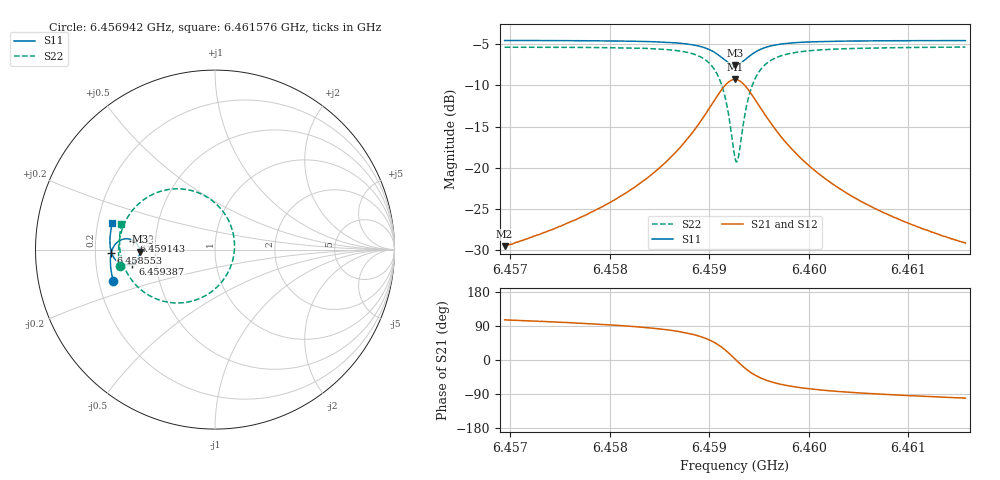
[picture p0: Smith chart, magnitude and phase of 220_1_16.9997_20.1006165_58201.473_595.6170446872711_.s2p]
#  HZ  S  RI  R  50.00
! Rohde & Schwarz Vector Network Analyzer
! Rohde-Schwarz,ZNB20-2Port,1311601062101988,3.16
! Created: UTC 3/20/2024, 11:01:55 PM
! freq[Hz]  re:S11  im:S11  re:S21  im:S21  re:S12  im:S12  re:S22  im:S22
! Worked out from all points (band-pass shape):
!   401 points, 6.456942 GHz to 6.461576 GHz, reference 50 ohm
!   highest |S21| = -9.28 dB at 6.459259 GHz (marker M1); lowest = -29.5 dB at 6.456942 GHz (marker M2)
!   |S21| within 3 dB of the highest: 6.459028 GHz to 6.459491 GHz (463.1 kHz wide, 0.00717 % of centre)
!   lowest |S11| = -7.6 dB at 6.459259 GHz (marker M3), VSWR 2.44, Z = 20.5 - j0.611 ohm
!   |S11| at or under -10 dB: nowhere
!   |S22| runs from -19.3 to -5.4 dB; largest |S21 - S12| = 0.013
!   S11 on the Smith chart (normalised r, x): 6.456942 GHz: 0.26, -0.14; 6.458553 GHz: 0.27, -0.01; 6.459143 GHz: 0.37, +0.05; 6.459387 GHz: 0.37, -0.07; 6.461576 GHz: 0.26, +0.12
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6.4569423e9  -0.5655 -0.176  -0.00913 0.0322  -0.00737 0.0321  -0.5308 -0.0914
6.4577185e9  -0.58 -0.1083  -0.00593 0.0502  -0.00347 0.0494  -0.5373 -0.000944
6.4581587e9  -0.5831 -0.0642  7.74e-05 0.0701  0.00332 0.0689  -0.5295 0.0688
6.4584947e9  -0.5797 -0.024  0.0134 0.0984  0.0174 0.0956  -0.5052 0.1445
6.4585526e9  -0.578 -0.0162  0.0177 0.1052  0.0217 0.1021  -0.4972 0.1611
6.4587611e9  -0.5652 0.016  0.0449 0.1376  0.049 0.1328  -0.4466 0.2341
6.4589117e9  -0.5427 0.0425  0.0898 0.1682  0.093 0.1616  -0.3639 0.2991
6.4590508e9  -0.499 0.0602  0.1764 0.1853  0.1775 0.1779  -0.2057 0.3387
6.4591434e9  -0.4548 0.0503  0.2662 0.1545  0.2665 0.1487  -0.0395 0.2897
6.4591898e9  -0.4335 0.0316  0.3099 0.1122  0.3112 0.1068  0.0433 0.2141
6.4592593e9  -0.4186 -0.0123  0.3433 0.0157  0.347 0.00886  0.1087 0.0355
6.4592709e9  -0.4191 -0.0203  0.3433 -0.00197  0.3469 -0.00942  0.1085 0.00218
6.459294e9  -0.4225 -0.0358  0.3378 -0.0365  0.3417 -0.0456  0.0978 -0.0634
6.4593404e9  -0.438 -0.0618  0.3096 -0.0962  0.3118 -0.1079  0.041 -0.1761
6.4593867e9  -0.4599 -0.078  0.2679 -0.1372  0.2672 -0.1503  -0.0433 -0.2508
6.4594794e9  -0.503 -0.0848  0.1838 -0.1686  0.1778 -0.1798  -0.2106 -0.2974
6.45963e9  -0.5467 -0.0644  0.0964 -0.1551  0.0882 -0.1612  -0.3774 -0.2491
6.4597922e9  -0.5683 -0.0368  0.0517 -0.1276  0.0443 -0.1305  -0.4578 -0.1779
6.4600355e9  -0.5811 -0.00132  0.0226 -0.0964  0.0169 -0.097  -0.5059 -0.096
6.460383e9  -0.5857 0.0398  0.00664 -0.0699  0.00248 -0.0695  -0.5278 -0.0173
6.4608116e9  -0.5838 0.0828  -0.00122 -0.0515  -0.00404 -0.0508  -0.5323 0.0509
6.4615762e9  -0.5717 0.1504  -0.00638 -0.0344  -0.00802 -0.0334  -0.5213 0.141
